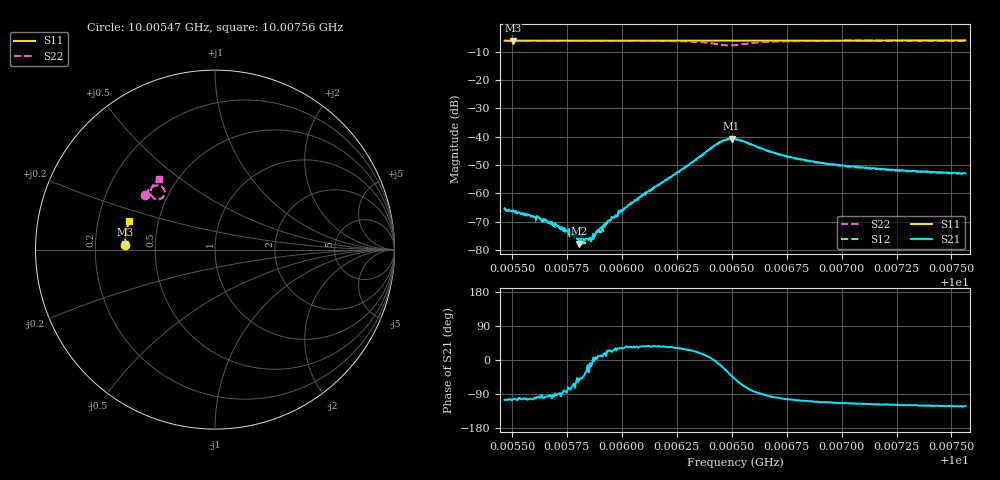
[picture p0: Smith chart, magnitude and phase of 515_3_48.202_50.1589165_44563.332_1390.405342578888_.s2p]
#  HZ  S  RI  R  50.00
! Rohde & Schwarz Vector Network Analyzer
! Rohde-Schwarz,ZNB20-2Port,1311601062101988,3.16
! Created: UTC 3/20/2024, 11:59:09 AM
! freq[Hz]  re:S11  im:S11  re:S21  im:S21  re:S12  im:S12  re:S22  im:S22
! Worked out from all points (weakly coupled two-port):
!   401 points, 10.00547 GHz to 10.00756 GHz, reference 50 ohm
!   highest |S21| = -40.68 dB at 10.0065 GHz (marker M1); lowest = -77.9 dB at 10.00581 GHz (marker M2)
!   lowest |S11| = -6.0 dB at 10.0055 GHz (marker M3), VSWR 3.01, Z = 16.6 + j1.3 ohm
!   |S11| at or under -10 dB: nowhere
!   |S22| runs from -7.7 to -6.0 dB; largest |S21 - S12| = 0.00056
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1.0005467e10  -0.5005 0.027  -0.000141 -0.000522  -0.00013 -0.000508  -0.3922 0.3046
1.0005503e10  -0.5003 0.0294  -0.000122 -0.000479  -0.000113 -0.00049  -0.3905 0.3067
1.0005619e10  -0.5002 0.0368  -6.03e-05 -0.000387  -1.38e-05 -0.000346  -0.3853 0.3134
1.0005666e10  -0.5 0.04  -2.91e-05 -0.000293  -2.49e-05 -0.000314  -0.3832 0.3164
1.0005713e10  -0.5 0.043  6.1e-06 -0.000258  9.22e-06 -0.00026  -0.3809 0.3192
1.000575e10  -0.4996 0.0454  1.71e-05 -0.000221  4.93e-05 -0.00019  -0.379 0.3213
1.0005808e10  -0.4995 0.049  8.46e-05 -9.6e-05  0.000111 -0.000119  -0.3761 0.3249
1.0005818e10  -0.4994 0.0498  0.000121 -0.00014  8.83e-05 -7.5e-05  -0.3757 0.3255
1.0005828e10  -0.4991 0.0506  0.000105 -9.4e-05  9.92e-05 -8.32e-05  -0.3749 0.3264
1.0005865e10  -0.4992 0.0528  0.000154 -2.43e-05  0.000161 -7.22e-06  -0.3728 0.3286
1.0005886e10  -0.499 0.0543  0.000216 8e-06  0.000197 4.39e-06  -0.3716 0.3301
1.0005912e10  -0.4989 0.0559  0.000232 3.61e-05  0.000219 7.9e-05  -0.37 0.3317
1.0005949e10  -0.4988 0.0583  0.000305 0.00014  0.000287 0.000175  -0.3678 0.334
1.0006101e10  -0.4978 0.0683  0.000775 0.000563  0.00076 0.000581  -0.3561 0.3445
1.0006169e10  -0.4973 0.0726  0.00115 0.000856  0.0011 0.000878  -0.3491 0.3496
1.0006437e10  -0.4942 0.0897  0.00754 -0.00106  0.00744 -0.000633  -0.2817 0.3304
1.0006499e10  -0.4935 0.0931  0.00688 -0.00618  0.00708 -0.00567  -0.2965 0.2863
1.0006515e10  -0.4936 0.0941  0.0058 -0.00708  0.0061 -0.00664  -0.3077 0.281
1.0006709e10  -0.4922 0.1065  -0.000819 -0.00494  -0.000616 -0.0049  -0.3581 0.3252
1.0006866e10  -0.4903 0.1166  -0.00119 -0.00346  -0.00103 -0.00345  -0.3512 0.347
1.0007218e10  -0.4853 0.1387  -0.00123 -0.00233  -0.00108 -0.00235  -0.3322 0.3734
1.0007563e10  -0.4793 0.1602  -0.00117 -0.00191  -0.00109 -0.00191  -0.3141 0.3916
